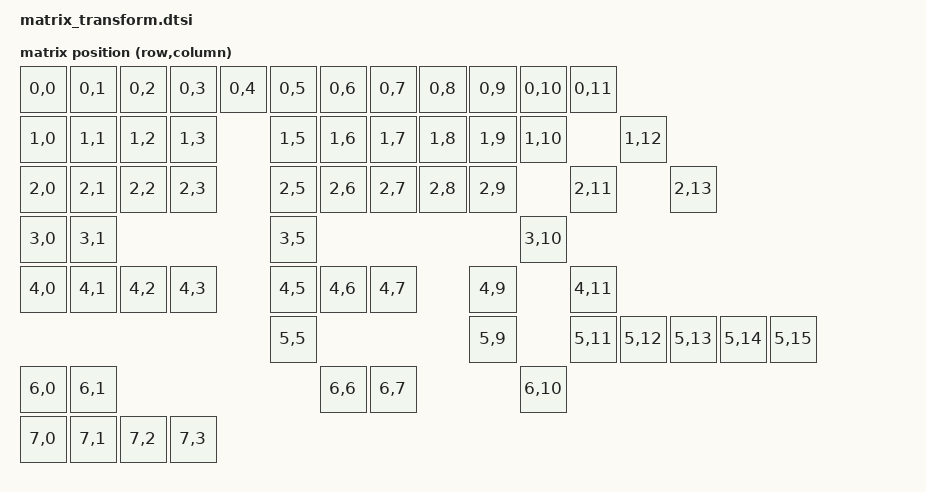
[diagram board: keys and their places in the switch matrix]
/* config/matrix_transform.dtsi */
#include <dt-bindings/zmk/matrix_transform.h>

 / {
    transform: matrix_transform {
        compatible = "zmk,matrix-transform";
        rows       = <8>;
        columns    = <16>;

        map = <
        /* r0 */  RC(0,0)  RC(0,1)  RC(0,2)  RC(0,3)  RC(0,4)  RC(0,5)  RC(0,6)  RC(0,7)  RC(0,8)  RC(0,9)  RC(0,10) RC(0,11) -1       -1       -1       -1
        /* r1 */  RC(1,0)  RC(1,1)  RC(1,2)  RC(1,3)  -1       RC(1,5)  RC(1,6)  RC(1,7)  RC(1,8)  RC(1,9)  RC(1,10) -1       RC(1,12) -1       -1       -1
        /* r2 */  RC(2,0)  RC(2,1)  RC(2,2)  RC(2,3)  -1       RC(2,5)  RC(2,6)  RC(2,7)  RC(2,8)  RC(2,9)  -1       RC(2,11) -1       RC(2,13) -1       -1
        /* r3 */  RC(3,0)  RC(3,1)  -1       -1       -1       RC(3,5)  -1       -1       -1       -1       RC(3,10) -1       -1       -1       -1       -1
        /* r4 */  RC(4,0)  RC(4,1)  RC(4,2)  RC(4,3)  -1       RC(4,5)  RC(4,6)  RC(4,7)  -1       RC(4,9)  -1       RC(4,11) -1       -1       -1       -1
        /* r5 */  -1       -1       -1       -1       -1       RC(5,5)  -1       -1       -1       RC(5,9)  -1       RC(5,11) RC(5,12) RC(5,13) RC(5,14) RC(5,15)
        /* r6 */  RC(6,0)  RC(6,1)  -1       -1       -1       -1       RC(6,6)  RC(6,7)  -1       -1       RC(6,10) -1       -1       -1       -1       -1
        /* r7 */  RC(7,0)  RC(7,1)  RC(7,2)  RC(7,3)  -1       -1       -1       -1       -1       -1       -1       -1       -1       -1       -1       -1
        >;
    };
};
